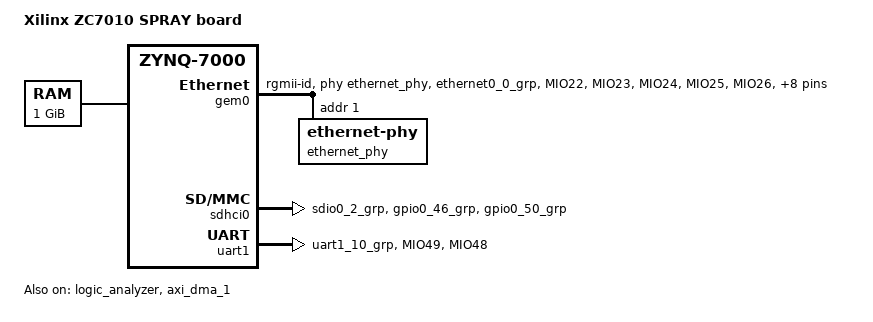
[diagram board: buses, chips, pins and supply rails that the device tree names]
// SPDX-License-Identifier: GPL-2.0+
/*
 *  Copyright (C) 2011 - 2015 Xilinx
 *  Copyright (C) 2012 National Instruments Corp.
 */
/dts-v1/;
#include "zynq-7000.dtsi"
#include <dt-bindings/gpio/gpio.h>

/ {
	model = "Xilinx ZC7010 SPRAY board";
	compatible = "xlnx,zynq-zc702", "xlnx,zynq-7000";

	aliases {
		ethernet0 = &gem0;
		serial0 = &uart1;
		mmc0 = &sdhci0;
	};

	memory@0 {
		device_type = "memory";
		reg = <0x0 0x40000000>;
	};

	chosen {
		bootargs = "";
		stdout-path = "serial0:115200n8";
	};

    
  logic_analyzer: logic_analyzer@1 {
      #address-cells = <1>;
      #size-cells = <1>;
      status = "okay";
      compatible ="zynq_logic_analyzer";
      dmas = <&axi_dma_1 1>;
      dma-names = "rx";
      reg = <0x60000000 0x20>;
      clocks = <&clkc 15>;
  };

  axi_dma_1: dma@40400000 {
    status = "okay";
    #dma-cells = <1>;
    clock-names = "s_axi_lite_aclk", "m_axi_s2mm_aclk";
    clocks = <&clkc 15>, <&clkc 15>;
    compatible = "xlnx,axi-dma-1.00.a";
    interrupt-parent = <&intc>;
    interrupts = <0 29 4>;
    reg = <0x40400000 0x10000>;
    xlnx,addrwidth = <0x20>;

    dma-channel@40400030 {
      compatible = "xlnx,axi-dma-s2mm-channel";
      dma-channels = <0x1>;
      interrupts = <0 29 4>;
      xlnx,datawidth = <0x80>;
    };
  };
};




&clkc {
	ps-clk-frequency = <33333333>;
};

&gem0 {
	status = "okay";
	phy-mode = "rgmii-id";
	phy-handle = <&ethernet_phy>;
	pinctrl-names = "default";
	pinctrl-0 = <&pinctrl_gem0_default>;
	// phy-reset-gpio = <&gpio0 11 0>;
	// phy-reset-active-low;

	ethernet_phy: ethernet-phy@1 {
		reg = <1>;
	};
};


&pinctrl0 {
	pinctrl_gem0_default: gem0-default {
		mux {
			function = "ethernet0";
			groups = "ethernet0_0_grp";
		};

		conf {
			groups = "ethernet0_0_grp";
			slew-rate = <0>;
			power-source = <2>;
		};

		conf-rx {
			pins = "MIO22", "MIO23", "MIO24", "MIO25", "MIO26", "MIO27";
			bias-high-impedance;
			low-power-disable;
		};

		conf-tx {
			pins = "MIO16", "MIO17", "MIO18", "MIO19", "MIO20", "MIO21";
			bias-disable;
			low-power-enable;
		};

		mux-mdio {
			function = "mdio0";
			groups = "mdio0_0_grp";
		};

		conf-mdio {
			groups = "mdio0_0_grp";
			slew-rate = <0>;
			power-source = <2>;
			bias-disable;
		};
	};


	pinctrl_sdhci0_default: sdhci0-default {
		mux {
			groups = "sdio0_2_grp";
			function = "sdio0";
		};

		conf {
			groups = "sdio0_2_grp";
			slew-rate = <0>;
			power-source = <2>;
			bias-disable;
		};

		mux-cd {
			groups = "gpio0_46_grp";
			function = "sdio0_cd";
		};

		conf-cd {
			groups = "gpio0_46_grp";
			bias-high-impedance;
			bias-pull-up;
			slew-rate = <0>;
			power-source = <2>;
		};

		mux-wp {
			groups = "gpio0_50_grp";
			function = "sdio0_wp";
		};

		conf-wp {
			groups = "gpio0_50_grp";
			bias-high-impedance;
			bias-pull-up;
			slew-rate = <0>;
			power-source = <2>;
		};
	};

	pinctrl_uart1_default: uart1-default {
		mux {
			groups = "uart1_10_grp";
			function = "uart1";
		};

		conf {
			groups = "uart1_10_grp";
			slew-rate = <0>;
			power-source = <2>;
		};

		conf-rx {
			pins = "MIO49";
			bias-high-impedance;
		};

		conf-tx {
			pins = "MIO48";
			bias-disable;
		};
	};
};


&sdhci0 {
	bootph-all;
	status = "okay";
	pinctrl-names = "default";
	pinctrl-0 = <&pinctrl_sdhci0_default>;
  disable-wp; // 禁用写保护
};

&uart1 {
	bootph-all;
	status = "okay";
	pinctrl-names = "default";
	pinctrl-0 = <&pinctrl_uart1_default>;
};

